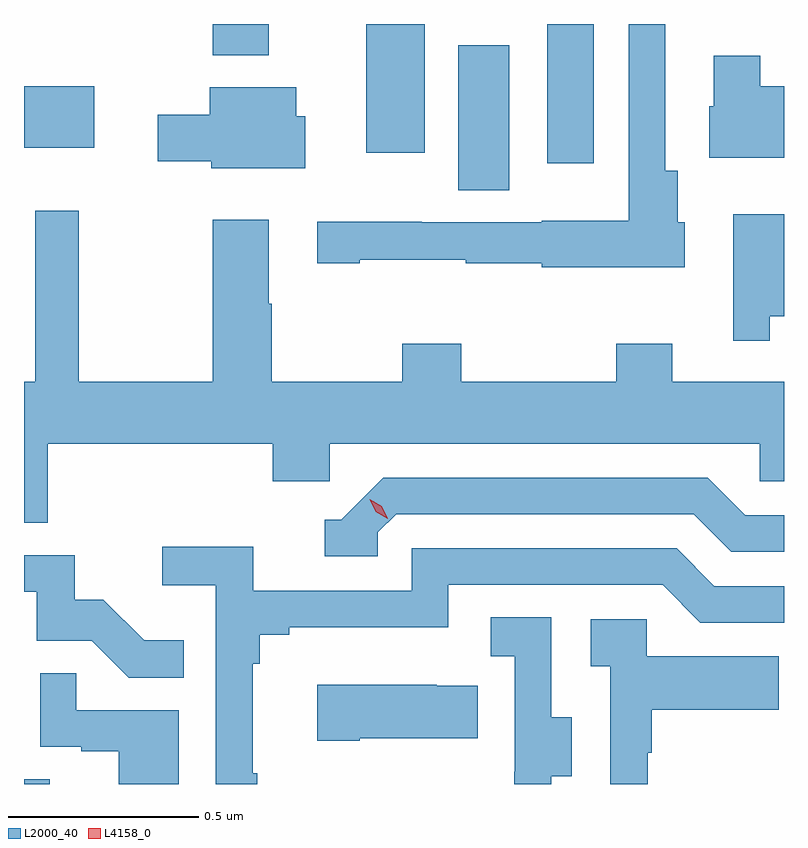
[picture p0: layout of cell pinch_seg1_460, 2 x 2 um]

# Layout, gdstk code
import gdstk
lib = gdstk.Library(unit=1e-6, precision=1e-09)
def R(c, l, rs):  # rectangles x0, y0, x1, y1
    for r in rs: c.add(gdstk.rectangle(r[:2], r[2:], *l))
def P(c, l, *ps):  # polygons
    for p in ps: c.add(gdstk.Polygon(p, *l))
L2000_40 = (2000, 40)
L4158_0 = (4158, 0)

pinch_seg1_460 = lib.new_cell('pinch_seg1_460')
R(pinch_seg1_460, L2000_40, [(999.149,513.541,999.217,513.554), (1000.292,515.104,1000.426,515.485), (1000.526,515.175,1000.648,515.541), (1000.049,515.202,1000.204,515.541), (999.149,515.216,999.334,515.377), (999.646,515.459,999.793,515.541)])
P(pinch_seg1_460, L2000_40, [(1000.888,515.019),(1000.87,515.019),(1000.87,515.155),(1000.836,515.155),(1000.836,515.541),(1000.74,515.541),(1000.74,515.023),(1000.512,515.023),(1000.512,515.019),(1000.196,515.019),(1000.196,515.02),(999.921,515.02),(999.921,514.911),(1000.033,514.911),(1000.033,514.921),(1000.312,514.921),(1000.312,514.911),(1000.512,514.911),(1000.512,514.901),(1000.888,514.901)],
  [(1001.149,515.377),(1001.086,515.377),(1001.086,515.458),(1000.964,515.458),(1000.964,515.325),(1000.952,515.325),(1000.952,515.189),(1001.149,515.189)],
  [(999.889,515.298),(999.865,515.298),(999.865,515.374),(999.638,515.374),(999.638,515.302),(999.501,515.302),(999.501,515.18),(999.642,515.18),(999.642,515.162),(999.889,515.162)],
  [(999.803,514.338),(999.954,514.338),(999.954,514.436),(1001.085,514.436),(1001.085,514.338),(1001.149,514.338),(1001.149,514.6),(1000.855,514.6),(1000.855,514.699),(1000.708,514.699),(1000.708,514.6),(1000.299,514.6),(1000.299,514.699),(1000.144,514.699),(1000.144,514.6),(999.801,514.6),(999.801,514.805),(999.793,514.805),(999.793,515.026),(999.646,515.026),(999.646,514.6),(999.293,514.6),(999.293,515.05),(999.179,515.05),(999.179,514.6),(999.149,514.6),(999.149,514.228),(999.212,514.228),(999.212,514.436),(999.803,514.436)],
  [(1001.112,514.772),(1001.149,514.772),(1001.149,515.041),(1001.016,515.041),(1001.016,514.707),(1001.112,514.707)],
  [(1000.08,514.203),(1000.128,514.251),(1000.911,514.251),(1001.01,514.152),(1001.149,514.152),(1001.149,514.248),(1001.047,514.248),(1000.948,514.347),(1000.095,514.347),(999.984,514.236),(999.941,514.236),(999.941,514.14),(1000.08,514.14)],
  [(999.763,513.569),(999.751,513.569),(999.751,513.857),(999.77,513.857),(999.77,513.934),(999.847,513.934),(999.847,513.953),(1000.266,513.953),(1000.266,514.065),(1000.83,514.065),(1000.929,513.966),(1001.149,513.966),(1001.149,514.062),(1000.966,514.062),(1000.867,514.161),(1000.17,514.161),(1000.17,514.05),(999.752,514.05),(999.752,514.166),(999.513,514.166),(999.513,514.064),(999.654,514.064),(999.654,513.541),(999.763,513.541)],
  [(999.569,513.919),(999.465,513.919),(999.358,514.026),(999.282,514.026),(999.282,514.143),(999.149,514.143),(999.149,514.047),(999.183,514.047),(999.183,513.918),(999.327,513.918),(999.425,513.82),(999.569,513.82)],
  [(1000.537,513.562),(1000.591,513.562),(1000.591,513.717),(1000.536,513.717),(1000.536,513.98),(1000.377,513.98),(1000.377,513.877),(1000.44,513.877),(1000.44,513.573),(1000.439,513.573),(1000.439,513.541),(1000.537,513.541)],
  [(1000.791,513.623),(1000.801,513.623),(1000.801,513.737),(1001.135,513.737),(1001.135,513.877),(1000.788,513.877),(1000.788,513.975),(1000.641,513.975),(1000.641,513.851),(1000.692,513.851),(1000.692,513.541),(1000.791,513.541)],
  [(999.556,513.735),(999.287,513.735),(999.287,513.833),(999.192,513.833),(999.192,513.639),(999.299,513.639),(999.299,513.627),(999.398,513.627),(999.398,513.541),(999.556,513.541)],
  [(1000.033,513.662),(1000.343,513.662),(1000.343,513.799),(1000.235,513.799),(1000.235,513.802),(999.921,513.802),(999.921,513.655),(1000.033,513.655)])
P(pinch_seg1_460, L4158_0, [(1000.106,514.239),(1000.075,514.258),(1000.059,514.29),(1000.059,514.291),(1000.059,514.291),(1000.09,514.272),(1000.106,514.239),(1000.106,514.239)])

lib.write_gds('pinch_seg1_460.gds')
